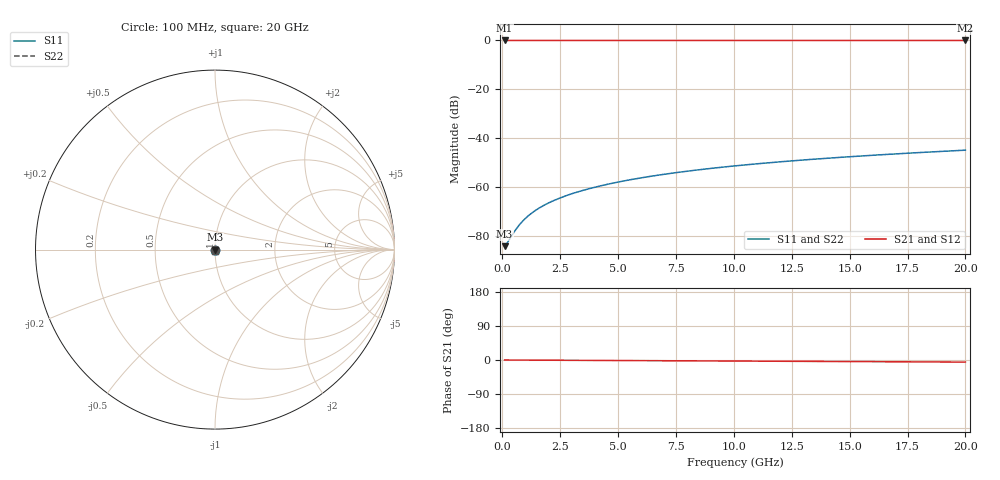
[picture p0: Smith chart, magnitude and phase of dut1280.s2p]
! Touchstone file exported from HFSS 2026.1.0
!  File:  C:/ffzhzh/LocalFiles/Ansys_Project_Files/temp_train_TSV_1280_1783194324_51560.aedt
!  Generated:  03:46:41 AM Jul  5, 2026
!  Design:  TSV
!  Project:  temp_train_TSV_1280_1783194324_51560
! Variables:
!  h_bsmrdl = 2um
!  h_ox = 20um
!  h_rdl = 5um
!  h_sub = 50.88um
!  h_tmrdl = 5um
!  h_tsv = 50.88um
!  h_via = 3um
!  l_bsmrdl = 300um
!  l_sub = 426.64um
!  l_tmrdl = 200um
!  m_sub = 200um
!  pitch = 49.62um
!  r_tsv = 13.32um
!  s_tmrdl = 10um
!  w_bsmrdl = 18um
!  w_sub = 500um
!  w_tmrdl = 12um
!  x_tsv_center1 = 206um
!  x_tsv_center2 = 524um
!  x_tsv_center3 = 736um
!  x_tsv_center4 = 1054um
!  x_tsv_center5 = 1266um
!  x_tsv_center6 = 1584um
# GHz S MA R 50.000000
! Terminal data exported
! Port[1] = TSV1_1_T1
! Port[2] = TSV1_1_T2
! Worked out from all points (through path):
!   200 points, 100 MHz to 20 GHz, reference 50 ohm
!   highest |S21| = 0.00 dB at 100 MHz (marker M1); lowest = 0.0 dB at 20 GHz (marker M2)
!   lowest |S11| = -84.1 dB at 100 MHz (marker M3), VSWR 1.00, Z = 50 - j4.08e-05 ohm
!   |S11| at or under -10 dB: start of sweep to end of sweep
!   |S22| runs from -84.1 to -44.8 dB; largest |S21 - S12| = 2.1e-15
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0.1  6.247e-05 -0.4  0.9999 -0.0  0.9999 -0.0  6.247e-05 -0.4
! Gamma 0 0 0 0
! Port Impedance 50 0 50 0
0.4  0.0001006 -11.5  0.9999 -0.1  0.9999 -0.1  0.0001006 -11.5
0.6  0.00014 -22.3  0.9999 -0.2  0.9999 -0.2  0.00014 -22.3
0.7  0.0001618 -27.4  0.9999 -0.2  0.9999 -0.2  0.0001618 -27.4
0.8  0.0001844 -31.9  0.9998 -0.2  0.9998 -0.2  0.0001844 -31.9
1  0.0002313 -39.6  0.9998 -0.3  0.9998 -0.3  0.0002313 -39.6
1.3  0.0003039 -48.1  0.9998 -0.4  0.9998 -0.4  0.0003039 -48.1
1.7  0.0004029 -55.8  0.9998 -0.5  0.9998 -0.5  0.0004029 -55.8
2.1  0.0005034 -61.0  0.9998 -0.6  0.9998 -0.6  0.0005034 -61.0
2.5  0.0006054 -64.6  0.9997 -0.7  0.9997 -0.7  0.0006054 -64.6
3  0.000735 -67.8  0.9997 -0.8  0.9997 -0.8  0.000735 -67.8
3.5  0.0008671 -70.1  0.9997 -1.0  0.9997 -1.0  0.0008671 -70.1
4.2  0.001056 -72.5  0.9997 -1.2  0.9997 -1.2  0.001056 -72.5
5  0.001276 -74.6  0.9996 -1.4  0.9996 -1.4  0.001276 -74.6
5.9  0.001529 -76.4  0.9996 -1.6  0.9996 -1.6  0.001529 -76.4
6.8  0.001786 -77.8  0.9996 -1.9  0.9996 -1.9  0.001786 -77.8
8.3  0.002221 -79.8  0.9995 -2.3  0.9995 -2.3  0.002221 -79.8
10.1  0.002749 -81.7  0.9995 -2.8  0.9995 -2.8  0.002749 -81.7
11.7  0.003221 -83.1  0.9994 -3.2  0.9994 -3.2  0.003221 -83.1
13.4  0.003727 -84.4  0.9994 -3.7  0.9994 -3.7  0.003727 -84.4
16.7  0.004718 -86.4  0.9993 -4.6  0.9993 -4.6  0.004718 -86.4
20  0.005725 -88.0  0.9992 -5.5  0.9992 -5.5  0.005725 -88.0
